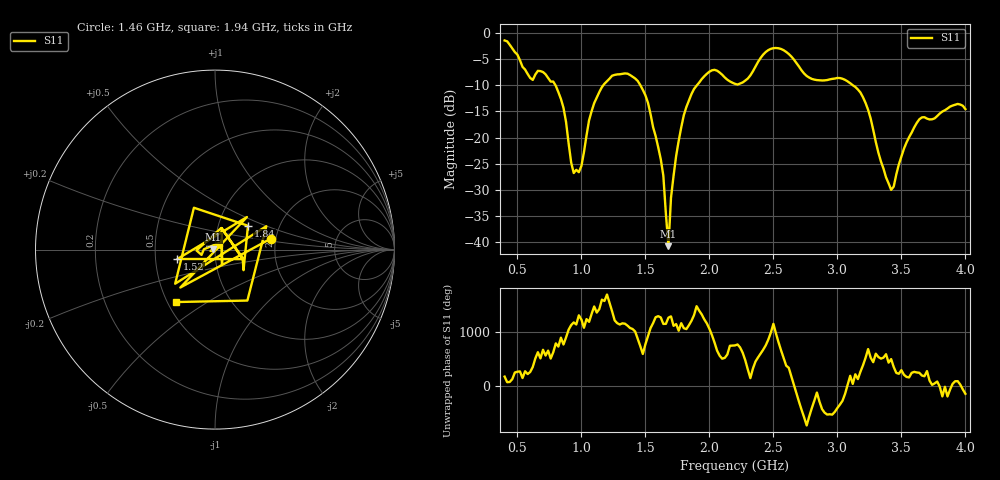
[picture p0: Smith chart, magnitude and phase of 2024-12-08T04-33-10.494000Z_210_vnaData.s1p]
!Created with skrf (http://scikit-rf.org).
# Hz S RI R 50.0
!freq ReS11 ImS11
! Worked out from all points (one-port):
!   181 points, 400 MHz to 4 GHz, reference 50 ohm
!   lowest |S11| = -40.8 dB at 1.68 GHz (marker M1), VSWR 1.02, Z = 49.1 + j0.0767 ohm
!   |S11| at or under -10 dB: 797.8 MHz to 1.171 GHz (372.8 MHz wide, 37.9 % of centre); 1.461 GHz to 1.902 GHz (440.6 MHz wide, 26.2 % of centre); 3.122 GHz to end of sweep
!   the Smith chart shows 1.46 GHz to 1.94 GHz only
!   S11 on the Smith chart (normalised r, x): 1.46 GHz: 1.89, +0.26; 1.52 GHz: 0.65, -0.07; 1.84 GHz: 1.39, +0.39; 1.94 GHz: 0.55, -0.37
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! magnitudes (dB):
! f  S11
! 400 MHz  -1.4
! 600 MHz  -8.6
! 680 MHz  -7.3
! 780 MHz  -9.3
! 860 MHz  -14.3
! 920 MHz  -24.8
! 980 MHz  -26.7
! 1.1 GHz  -13.4
! 1.3 GHz  -7.9
! 1.46 GHz  -9.9
! 1.52 GHz  -13.3
! 1.64 GHz  -27.3
! 1.68 GHz  -40.8
! 1.7 GHz  -31.5
! 1.76 GHz  -20.6
! 1.84 GHz  -12.9
! 1.94 GHz  -8.8
! 2.04 GHz  -7.0
! 2.2 GHz  -9.7
! 2.48 GHz  -3.0
! 2.66 GHz  -5.0
! 2.8 GHz  -8.8
! 3.1 GHz  -9.6
! 3.22 GHz  -13.4
! 3.42 GHz  -30.0
! 3.56 GHz  -19.9
! 3.66 GHz  -16.1
! 4 GHz  -14.6
